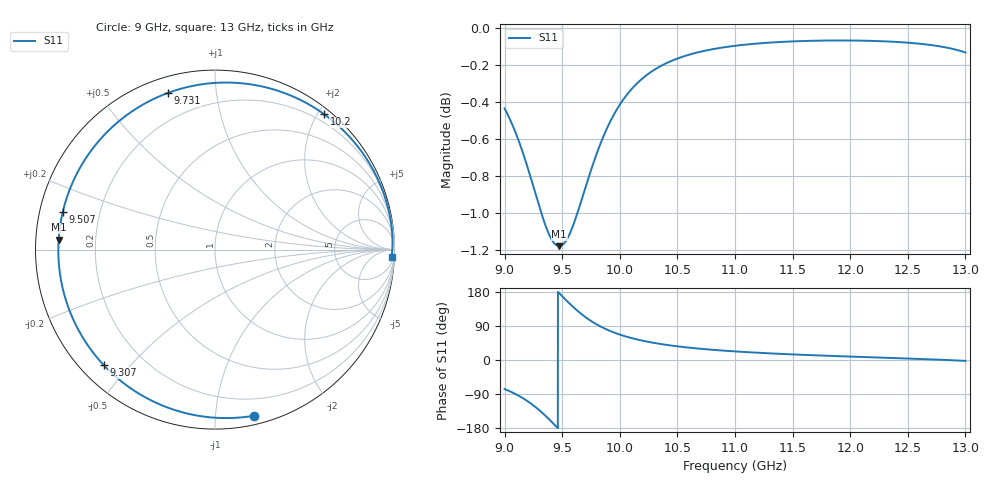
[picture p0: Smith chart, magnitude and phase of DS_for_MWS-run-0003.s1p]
! TOUCHSTONE file generated by CST DESIGN STUDIO
! Date and time: Tue Feb  4 18:42:34 2025
! Project name: C:\Work\MatlabApps\UnitCellOptimizationMatlab\CST\unitcell.cst
! Tree item: Tasks\Sweep1\SPara1\S-Parameters
! Header version: 2024
! Port assignment regex: !\s*Touchstone port\s*([0-9]+)\s*=\s*(CST MWS port|CST DES external port|CST DES block port)\s*(.+)\s* \(\"(.*)\"\)(\s*mode\s*([0-9]+))?.*
! Touchstone port assignment:
! Touchstone port 1 = CST DES external port 1 ("")
# GHz S MA R 50
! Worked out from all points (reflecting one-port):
!   4001 points, 9 GHz to 13 GHz, reference 50 ohm
!   lowest |S11| = -1.2 dB at 9.474 GHz (marker M1), VSWR 14.74, Z = 3.4 + j1.58 ohm
!   phase of S11 starts at -77 deg and turns -286 deg over the sweep
!   S11 on the Smith chart (normalised r, x): 9 GHz: 0.07, -1.26; 9.307 GHz: 0.07, -0.42; 9.507 GHz: 0.07, +0.12; 9.731 GHz: 0.07, +0.74; 10.2 GHz: 0.09, +2.09; 13 GHz: 16, -43
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9  0.9509 -76.7
9.076  0.94 -87.0
9.174  0.922 -103.6
9.243  0.9073 -118.2
9.307  0.8935 -134.0
9.35  0.8851 -145.8
9.397  0.8779 -159.7
9.436  0.8741 -171.7
9.474  0.8729 176.4
9.5  0.8735 168.2
9.507  0.8739 166.0
9.56  0.879 150.0
9.621  0.889 132.8
9.675  0.8997 119.3
9.731  0.9113 106.8
9.784  0.9217 96.6
9.844  0.9323 86.7
9.92  0.9436 76.1
10  0.9532 67.1
10.093  0.9617 58.6
10.196  0.9688 51.1
10.336  0.9756 43.1
10.5  0.9809 36.1
11  0.9887 22.6
11.5  0.9914 14.7
12  0.992 9.0
12.5  0.9906 3.9
13  0.9846 -2.4
